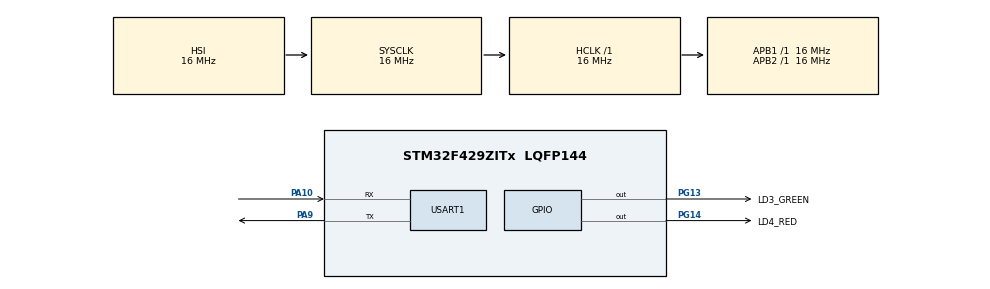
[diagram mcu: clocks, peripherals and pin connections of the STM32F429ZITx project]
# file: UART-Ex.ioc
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Mcu.Family=STM32F4
Mcu.Name=STM32F429ZITx
Mcu.Package=LQFP144
NVIC.PriorityGroup=NVIC_PRIORITYGROUP_4
NVIC.USART1_IRQn=true\:0\:0\:false\:false\:true\:true\:true\:true
PA10.Mode=Asynchronous
PA10.Signal=USART1_RX
PA13.Mode=Serial_Wire
PA13.Signal=SYS_JTMS-SWDIO
PA14.Mode=Serial_Wire
PA14.Signal=SYS_JTCK-SWCLK
PA9.Mode=Asynchronous
PA9.Signal=USART1_TX
PG13.GPIO_Label=LD3_GREEN
PG13.Signal=GPIO_Output
PG14.GPIO_Label=LD4_RED
PG14.Signal=GPIO_Output
ProjectManager.HeapSize=0x200
ProjectManager.StackSize=0x400
ProjectManager.TargetToolchain=STM32CubeIDE
RCC.AHBFreq_Value=16000000
RCC.APB1Freq_Value=16000000
RCC.APB2Freq_Value=16000000
RCC.CortexFreq_Value=16000000
RCC.HSE_VALUE=25000000
RCC.HSI_VALUE=16000000
RCC.LSE_VALUE=32768
RCC.SYSCLKFreq_VALUE=16000000
RCC.VCOOutputFreq_Value=192000000
USART1.VirtualMode=VM_ASYNC
board=custom

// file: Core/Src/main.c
/* USER CODE BEGIN Header */
/**
  ******************************************************************************
  * @file           : main.c
  * @brief          : Main program body
  ******************************************************************************
  * @attention
  *
  * Copyright (c) 2026 STMicroelectronics.
  * All rights reserved.
  *
  * This software is licensed under terms that can be found in the LICENSE file
  * in the root directory of this software component.
  * If no LICENSE file comes with this software, it is provided AS-IS.
  *
  ******************************************************************************
  */
/* USER CODE END Header */
#include "main.h"

/* USER CODE BEGIN Includes */
#include <string.h>
#include <stdbool.h>
#include <stdio.h>
/* USER CODE END Includes */

/* USER CODE BEGIN PD */
#define RX_BUF_SIZE 128
#define LED_DURATION_MS 5000
/* USER CODE END PD */

UART_HandleTypeDef huart1;

/* USER CODE BEGIN PV */
//UART Rx Variables
uint8_t rx_byte; //Bien chua 1 byte tu ngat
char rx_buffer[RX_BUF_SIZE]; // Line buffer chua chuoi
volatile uint8_t rx_index = 0; // Vi tri con tr ghi vao buffer
volatile bool line_ready = false; // Co bao hieu da nhan xong 1 dong (\r hoac \n)

// LED Timerr Variables
uint32_t led_green_start = 0; // Thoi diem bat dau sang den xanh
bool led_green_active = false; // Den xanh dang sang
uint32_t led_red_start = 0; //Thoi diem bat dau sang den do
bool led_red_active = false; //Den do dang sang

// Chuoi message de truyen di
const char msg_welcome[] = "--- UART Command Ready ---\r\n";
const char msg_done[] = "DONE\r\n";

/* USER CODE END PV */

void SystemClock_Config(void);
static void MX_GPIO_Init(void);
static void MX_USART1_UART_Init(void);

/* USER CODE BEGIN 0 */
/*
 *  Ham phuc vu ngat nhan UART (Callback)
 *  Duoc goi tu dong boi HAL khi co 1 byte nhay vao USART1
 *
 * */
void HAL_UART_RxCpltCallback(UART_HandleTypeDef *haurt){
	if (haurt->Instance == USART1){
		// Kiem tra ky tu ket thuc chuoi: CR or LF
		if (rx_byte == '\r' || rx_byte == '\n'){
			if (rx_index > 0 && !line_ready){ // Bo qua chuoi rong hoac \n thua
				rx_buffer[rx_index] = '\0'; // Dong chuoi thanh C-String hop le
				line_ready = true; //Dung co bao cho Main loop xu ly
			}
		} else {
			// Nhan byte binh thuong, chi khi chua chot chuoi va con cho
			if (!line_ready){
				if (rx_index < (RX_BUF_SIZE - 1)){
					rx_buffer[rx_index++] = rx_byte;
				}
			} else {
				//Tran buffer: tu dog dong chuoi de tranh ghi de
				rx_buffer[RX_BUF_SIZE -1] = '\0';
				line_ready = true;
			}
		}
	}

	// Bat buoc moi lai ngat d lay byte  tieptheo
	HAL_UART_Receive_IT(&huart1, &rx_byte, 1);
}

/* USER CODE END 0 */

int main(void)
{

  /* MCU Configuration--------------------------------------------------------*/

  /* Reset of all peripherals, Initializes the Flash interface and the Systick. */
  HAL_Init();

  /* Configure the system clock */
  SystemClock_Config();

  /* Initialize all configured peripherals */
  MX_GPIO_Init();
  MX_USART1_UART_Init();
  /* USER CODE BEGIN 2 */

  // In chuoi khoi dong ra man hinh
  HAL_UART_Transmit(&huart1, (uint8_t*)msg_welcome, strlen(msg_welcome), HAL_MAX_DELAY);

  // kICH HOAT NGAT NHAN LAN DAU TIEN
  HAL_UART_Receive_IT(&huart1, &rx_byte, 1);

  // Dam bao 2 den LED tat luc khoi dong
  HAL_GPIO_WritePin(GPIOG, LD3_GREEN_Pin, GPIO_PIN_RESET);
  HAL_GPIO_WritePin(GPIOG, LD4_RED_Pin, GPIO_PIN_RESET);

  /* USER CODE END 2 */

  /* Infinite loop */
  /* USER CODE BEGIN WHILE */
  while (1)
  {
	  // 1. XU LY LENH TU UART
	  if (line_ready){
		  // Echo chuoi vua nhan nguoc lai man hinh
		  HAL_UART_Transmit(&huart1, (uint8_t*)"Echo: ", 6, HAL_MAX_DELAY);
		  HAL_UART_Transmit(&huart1, (uint8_t*)rx_buffer, strlen(rx_buffer), HAL_MAX_DELAY);
		  HAL_UART_Transmit(&huart1, (uint8_t*)"\r\n", 2, HAL_MAX_DELAY);

		  // Phan tich lenh dieu khien
		  if (strcmp(rx_buffer, "LED_GREEN") == 0){
			  HAL_GPIO_WritePin(GPIOG, LD3_GREEN_Pin, GPIO_PIN_SET);
			  led_green_active = true;
			  led_green_start = HAL_GetTick(); // Ghi nhan moc thoi gian bat dau
		  } else if (strcmp(rx_buffer, "LED_RED") == 0) {
			  HAL_GPIO_WritePin(GPIOG, LD4_RED_Pin, GPIO_PIN_SET);
			  led_red_active = true;
			  led_red_start = HAL_GetTick();
		  } else {
			  HAL_UART_Transmit(&huart1, (uint8_t*)"Unknown Command\r\n", 17, HAL_MAX_DELAY);
		  }

		  // Xoa buffer va ha co de hung lenh tiep thep
		  rx_index = 0;
		  line_ready = false;
	  }

	  // 2. QUAN LY THOI GIAN DEN LED_GREEN (NON-BLOCKING)
	  if (led_green_active){
		  // Tinh khoang thoi gian troi qua ke tu luc bat den
		  uint32_t now = HAL_GetTick();
		  if ((now - led_green_start) >= LED_DURATION_MS){
			  HAL_GPIO_WritePin(GPIOG, LD3_GREEN_Pin, GPIO_PIN_RESET); // Tắt đèn
			  led_green_active = false;
			  HAL_UART_Transmit(&huart1, (uint8_t*)msg_done, strlen(msg_done), HAL_MAX_DELAY);
		  }
	  }

	  // 3. QUAN LY THOI GIAN DEN LED_RED (NON-BLOCKING)
	  if (led_red_active){
		  uint32_t now = HAL_GetTick();
		  if ((now - led_red_start) >= LED_DURATION_MS){
			  HAL_GPIO_WritePin(GPIOG, LD4_RED_Pin, GPIO_PIN_RESET);
			  led_red_active = false;
			  HAL_UART_Transmit(&huart1, (uint8_t*)msg_done, strlen(msg_done), HAL_MAX_DELAY);
		  }
	  }
    /* USER CODE END WHILE */

  }
}

void SystemClock_Config(void)
{
  RCC_OscInitTypeDef RCC_OscInitStruct = {0};
  RCC_ClkInitTypeDef RCC_ClkInitStruct = {0};

  /** Configure the main internal regulator output voltage
  */
  __HAL_RCC_PWR_CLK_ENABLE();
  __HAL_PWR_VOLTAGESCALING_CONFIG(PWR_REGULATOR_VOLTAGE_SCALE3);

  /** Initializes the RCC Oscillators according to the specified parameters
  * in the RCC_OscInitTypeDef structure.
  */
  RCC_OscInitStruct.OscillatorType = RCC_OSCILLATORTYPE_HSI;
  RCC_OscInitStruct.HSIState = RCC_HSI_ON;
  RCC_OscInitStruct.HSICalibrationValue = RCC_HSICALIBRATION_DEFAULT;
  RCC_OscInitStruct.PLL.PLLState = RCC_PLL_NONE;
  if (HAL_RCC_OscConfig(&RCC_OscInitStruct) != HAL_OK)
  {
    Error_Handler();
  }

  /** Initializes the CPU, AHB and APB buses clocks
  */
  RCC_ClkInitStruct.ClockType = RCC_CLOCKTYPE_HCLK|RCC_CLOCKTYPE_SYSCLK
                              |RCC_CLOCKTYPE_PCLK1|RCC_CLOCKTYPE_PCLK2;
  RCC_ClkInitStruct.SYSCLKSource = RCC_SYSCLKSOURCE_HSI;
  RCC_ClkInitStruct.AHBCLKDivider = RCC_SYSCLK_DIV1;
  RCC_ClkInitStruct.APB1CLKDivider = RCC_HCLK_DIV1;
  RCC_ClkInitStruct.APB2CLKDivider = RCC_HCLK_DIV1;

  if (HAL_RCC_ClockConfig(&RCC_ClkInitStruct, FLASH_LATENCY_0) != HAL_OK)
  {
    Error_Handler();
  }
}

static void MX_USART1_UART_Init(void)
{

  huart1.Instance = USART1;
  huart1.Init.BaudRate = 115200;
  huart1.Init.WordLength = UART_WORDLENGTH_8B;
  huart1.Init.StopBits = UART_STOPBITS_1;
  huart1.Init.Parity = UART_PARITY_NONE;
  huart1.Init.Mode = UART_MODE_TX_RX;
  huart1.Init.HwFlowCtl = UART_HWCONTROL_NONE;
  huart1.Init.OverSampling = UART_OVERSAMPLING_16;
  if (HAL_UART_Init(&huart1) != HAL_OK)
  {
    Error_Handler();
  }

}

static void MX_GPIO_Init(void)
{
  GPIO_InitTypeDef GPIO_InitStruct = {0};

  /* GPIO Ports Clock Enable */
  __HAL_RCC_GPIOA_CLK_ENABLE();
  __HAL_RCC_GPIOG_CLK_ENABLE();

  /*Configure GPIO pin Output Level */
  HAL_GPIO_WritePin(GPIOG, LD3_GREEN_Pin|LD4_RED_Pin, GPIO_PIN_RESET);

  /*Configure GPIO pins : LD3_GREEN_Pin LD4_RED_Pin */
  GPIO_InitStruct.Pin = LD3_GREEN_Pin|LD4_RED_Pin;
  GPIO_InitStruct.Mode = GPIO_MODE_OUTPUT_PP;
  GPIO_InitStruct.Pull = GPIO_NOPULL;
  GPIO_InitStruct.Speed = GPIO_SPEED_FREQ_LOW;
  HAL_GPIO_Init(GPIOG, &GPIO_InitStruct);

}

void Error_Handler(void)
{
  __disable_irq();
  while (1)
  {
  }
}
